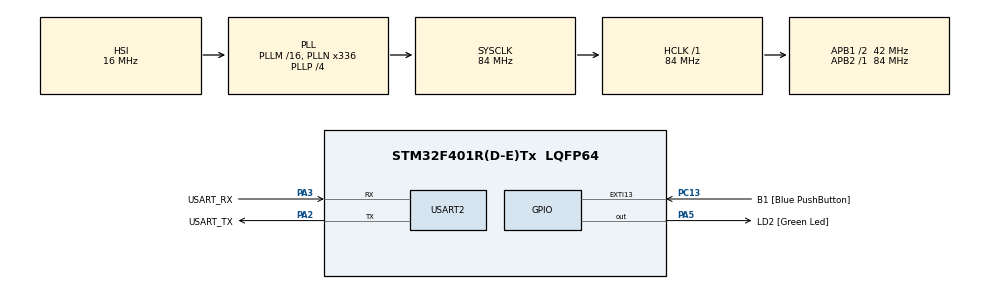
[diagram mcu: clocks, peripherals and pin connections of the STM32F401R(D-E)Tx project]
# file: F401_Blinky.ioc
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Mcu.Family=STM32F4
Mcu.Name=STM32F401R(D-E)Tx
Mcu.Package=LQFP64
NVIC.PriorityGroup=NVIC_PRIORITYGROUP_4
PA13.GPIO_Label=TMS
PA13.Mode=Serial_Wire
PA13.Signal=SYS_JTMS-SWDIO
PA14.GPIO_Label=TCK
PA14.Mode=Serial_Wire
PA14.Signal=SYS_JTCK-SWCLK
PA2.GPIO_Label=USART_TX
PA2.GPIO_Mode=GPIO_MODE_AF_PP
PA2.GPIO_PuPd=GPIO_NOPULL
PA2.GPIO_Speed=GPIO_SPEED_FREQ_LOW
PA2.Mode=Asynchronous
PA2.Signal=USART2_TX
PA3.GPIO_Label=USART_RX
PA3.GPIO_Mode=GPIO_MODE_AF_PP
PA3.GPIO_PuPd=GPIO_NOPULL
PA3.GPIO_Speed=GPIO_SPEED_FREQ_LOW
PA3.Mode=Asynchronous
PA3.Signal=USART2_RX
PA5.GPIO_Label=LD2 [Green Led]
PA5.GPIO_Mode=GPIO_MODE_OUTPUT_PP
PA5.GPIO_PuPd=GPIO_NOPULL
PA5.GPIO_Speed=GPIO_SPEED_FREQ_LOW
PA5.Signal=GPIO_Output
PB3.GPIO_Label=SWO
PB3.Signal=SYS_JTDO-SWO
PC13-ANTI_TAMP.GPIO_Label=B1 [Blue PushButton]
PC13-ANTI_TAMP.GPIO_ModeDefaultEXTI=GPIO_MODE_IT_FALLING
PC13-ANTI_TAMP.GPIO_PuPd=GPIO_NOPULL
PC13-ANTI_TAMP.Signal=GPXTI13
PC14-OSC32_IN.Mode=LSE-External-Oscillator
PC14-OSC32_IN.Signal=RCC_OSC32_IN
PC15-OSC32_OUT.Mode=LSE-External-Oscillator
PC15-OSC32_OUT.Signal=RCC_OSC32_OUT
PH0\ -\ OSC_IN.Mode=HSE-External-Clock-Source
PH0\ -\ OSC_IN.Signal=RCC_OSC_IN
PH1\ -\ OSC_OUT.Mode=HSE-External-Clock-Source
PH1\ -\ OSC_OUT.Signal=RCC_OSC_OUT
ProjectManager.HeapSize=0x200
ProjectManager.StackSize=0x400
ProjectManager.TargetToolchain=CMake
RCC.48MHZClocksFreq_Value=48000000
RCC.AHBFreq_Value=84000000
RCC.APB1CLKDivider=RCC_HCLK_DIV2
RCC.APB1Freq_Value=42000000
RCC.APB1TimFreq_Value=84000000
RCC.APB2Freq_Value=84000000
RCC.APB2TimFreq_Value=84000000
RCC.CortexFreq_Value=84000000
RCC.HCLKFreq_Value=84000000
RCC.HSE_VALUE=8000000
RCC.HSI_VALUE=16000000
RCC.PLLN=336
RCC.PLLP=RCC_PLLP_DIV4
RCC.PLLQ=7
RCC.SYSCLKFreq_VALUE=84000000
RCC.SYSCLKSource=RCC_SYSCLKSOURCE_PLLCLK
RCC.VCOOutputFreq_Value=336000000
USART2.VirtualMode=VM_ASYNC
board=NUCLEO-F401RE

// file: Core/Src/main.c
/* USER CODE BEGIN Header */
/**
  ******************************************************************************
  * @file           : main.c
  * @brief          : Main program body
  ******************************************************************************
  * @attention
  *
  * Copyright (c) 2026 STMicroelectronics.
  * All rights reserved.
  *
  * This software is licensed under terms that can be found in the LICENSE file
  * in the root directory of this software component.
  * If no LICENSE file comes with this software, it is provided AS-IS.
  *
  ******************************************************************************
  */
/* USER CODE END Header */
#include "main.h"

/* USER CODE BEGIN Includes */
#include <stdio.h>
#include "FreeRTOS.h"
#include "semphr.h"
#include "task.h"

/* USER CODE END Includes */

UART_HandleTypeDef huart2;
SemaphoreHandle_t uartTxMutex;

void SystemClock_Config(void);
static void MX_GPIO_Init(void);
static void MX_USART2_UART_Init(void);
static void task1_handler(void* parameter);
static void task2_handler(void* parameter);

int main(void)
{

  /* USER CODE BEGIN 1 */
  TaskHandle_t pxCreatedtask1;
  TaskHandle_t pxCreatedtask2;

  BaseType_t status;

  /* USER CODE END 1 */

  /* MCU Configuration--------------------------------------------------------*/

  /* Reset of all peripherals, Initializes the Flash interface and the Systick. */
  HAL_Init();

  /* Configure the system clock */
  SystemClock_Config();

  /* Initialize all configured peripherals */
  MX_GPIO_Init();
  MX_USART2_UART_Init();
  /* USER CODE BEGIN 2 */

  uartTxMutex = xSemaphoreCreateMutex();
  if (uartTxMutex == NULL)
  {
    Error_Handler();
  }

  status = xTaskCreate(task1_handler, "Task 1", 200, "Hello World! 1", 2, &pxCreatedtask1);
  configASSERT(status == pdPASS);

  status = xTaskCreate(task2_handler, "Task 2", 200, "Hello World! 2", 2, &pxCreatedtask2);
  configASSERT(status == pdPASS);

  vTaskStartScheduler();

  /* USER CODE END 2 */

  /* Infinite loop */
  while (1)
  {
    HAL_GPIO_WritePin(LD2_GPIO_Port, LD2_Pin, 1);
  }
}

void SystemClock_Config(void)
{
  RCC_OscInitTypeDef RCC_OscInitStruct = {0};
  RCC_ClkInitTypeDef RCC_ClkInitStruct = {0};

  /** Configure the main internal regulator output voltage
  */
  __HAL_RCC_PWR_CLK_ENABLE();
  __HAL_PWR_VOLTAGESCALING_CONFIG(PWR_REGULATOR_VOLTAGE_SCALE2);

  /** Initializes the RCC Oscillators according to the specified parameters
  * in the RCC_OscInitTypeDef structure.
  */
  RCC_OscInitStruct.OscillatorType = RCC_OSCILLATORTYPE_HSI;
  RCC_OscInitStruct.HSIState = RCC_HSI_ON;
  RCC_OscInitStruct.HSICalibrationValue = RCC_HSICALIBRATION_DEFAULT;
  RCC_OscInitStruct.PLL.PLLState = RCC_PLL_ON;
  RCC_OscInitStruct.PLL.PLLSource = RCC_PLLSOURCE_HSI;
  RCC_OscInitStruct.PLL.PLLM = 16;
  RCC_OscInitStruct.PLL.PLLN = 336;
  RCC_OscInitStruct.PLL.PLLP = RCC_PLLP_DIV4;
  RCC_OscInitStruct.PLL.PLLQ = 7;
  if (HAL_RCC_OscConfig(&RCC_OscInitStruct) != HAL_OK)
  {
    Error_Handler();
  }

  /** Initializes the CPU, AHB and APB buses clocks
  */
  RCC_ClkInitStruct.ClockType = RCC_CLOCKTYPE_HCLK|RCC_CLOCKTYPE_SYSCLK
                              |RCC_CLOCKTYPE_PCLK1|RCC_CLOCKTYPE_PCLK2;
  RCC_ClkInitStruct.SYSCLKSource = RCC_SYSCLKSOURCE_PLLCLK;
  RCC_ClkInitStruct.AHBCLKDivider = RCC_SYSCLK_DIV1;
  RCC_ClkInitStruct.APB1CLKDivider = RCC_HCLK_DIV2;
  RCC_ClkInitStruct.APB2CLKDivider = RCC_HCLK_DIV1;

  if (HAL_RCC_ClockConfig(&RCC_ClkInitStruct, FLASH_LATENCY_2) != HAL_OK)
  {
    Error_Handler();
  }
}

static void MX_USART2_UART_Init(void)
{

  huart2.Instance = USART2;
  huart2.Init.BaudRate = 115200;
  huart2.Init.WordLength = UART_WORDLENGTH_8B;
  huart2.Init.StopBits = UART_STOPBITS_1;
  huart2.Init.Parity = UART_PARITY_NONE;
  huart2.Init.Mode = UART_MODE_TX_RX;
  huart2.Init.HwFlowCtl = UART_HWCONTROL_NONE;
  huart2.Init.OverSampling = UART_OVERSAMPLING_16;
  if (HAL_UART_Init(&huart2) != HAL_OK)
  {
    Error_Handler();
  }

}

static void MX_GPIO_Init(void)
{
  GPIO_InitTypeDef GPIO_InitStruct = {0};

  /* GPIO Ports Clock Enable */
  __HAL_RCC_GPIOC_CLK_ENABLE();
  __HAL_RCC_GPIOH_CLK_ENABLE();
  __HAL_RCC_GPIOA_CLK_ENABLE();
  __HAL_RCC_GPIOB_CLK_ENABLE();

  /*Configure GPIO pin Output Level */
  HAL_GPIO_WritePin(LD2_GPIO_Port, LD2_Pin, GPIO_PIN_RESET);

  /*Configure GPIO pin : B1_Pin */
  GPIO_InitStruct.Pin = B1_Pin;
  GPIO_InitStruct.Mode = GPIO_MODE_IT_FALLING;
  GPIO_InitStruct.Pull = GPIO_NOPULL;
  HAL_GPIO_Init(B1_GPIO_Port, &GPIO_InitStruct);

  /*Configure GPIO pin : LD2_Pin */
  GPIO_InitStruct.Pin = LD2_Pin;
  GPIO_InitStruct.Mode = GPIO_MODE_OUTPUT_PP;
  GPIO_InitStruct.Pull = GPIO_NOPULL;
  GPIO_InitStruct.Speed = GPIO_SPEED_FREQ_LOW;
  HAL_GPIO_Init(LD2_GPIO_Port, &GPIO_InitStruct);

}

/* USER CODE BEGIN 4 */

static void task1_handler(void* parameter)
{
  while(1)
  {
    printf("%s\n", (char*)parameter);
  }
}

static void task2_handler(void* parameter)
{
  while(1)
  {
    printf("%s\n", (char*)parameter);
  }
}

/* USER CODE END 4 */

void Error_Handler(void)
{
  __disable_irq();
  while (1)
  {
  }
}
